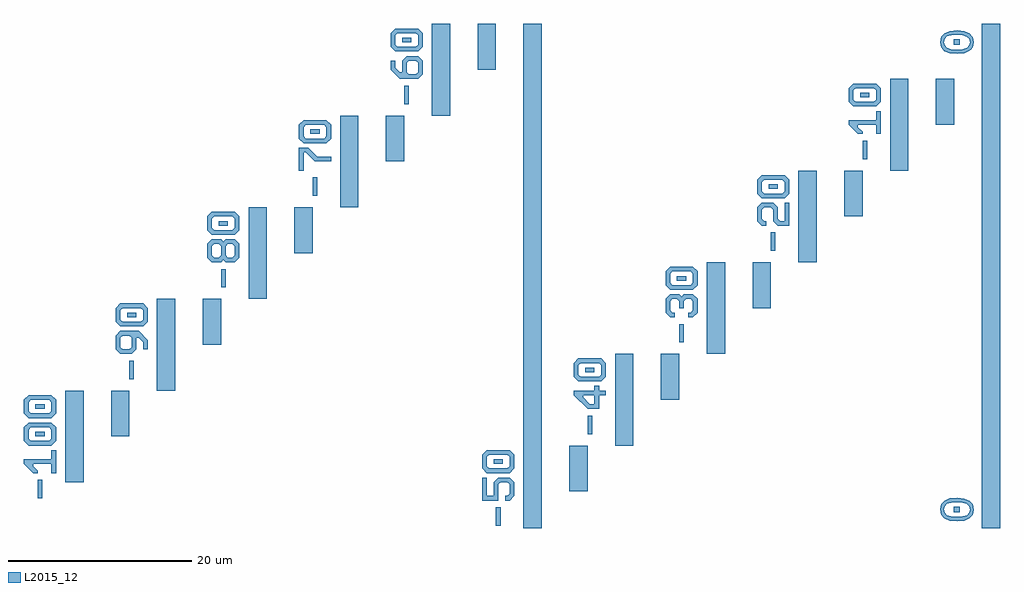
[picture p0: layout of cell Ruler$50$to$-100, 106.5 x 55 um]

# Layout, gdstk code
import gdstk
lib = gdstk.Library(unit=1e-6, precision=1e-09)
def R(c, l, rs):  # rectangles x0, y0, x1, y1
    for r in rs: c.add(gdstk.rectangle(r[:2], r[2:], *l))
def P(c, l, *ps):  # polygons
    for p in ps: c.add(gdstk.Polygon(p, *l))
L2015_12 = (2015, 12)

ruler_50_to__100 = lib.new_cell('Ruler$50$to$-100')
R(ruler_50_to__100, L2015_12, [(-51,-25,-49,30), (-1,-25,1,30), (-54,-24.75,-53.5,-22.75), (-4.028,-23.288,-3.376,-22.673), (-104,-21.75,-103.5,-19.75), (-46,-21,-44,-16), (-101,-20,-99,-10), (-54.25,-18,-53.25,-17.5), (-41,-16,-39,-6), (-104.25,-15,-103.25,-14.5), (-96,-15,-94,-10), (-44,-14.75,-43.5,-12.75), (-104.25,-12,-103.25,-11.5), (-36,-11,-34,-6), (-91,-10,-89,0), (-94,-8.75,-93.5,-6.75), (-44.25,-8,-43.25,-7.5), (-31,-6,-29,4), (-86,-5,-84,0), (-34,-4.75,-33.5,-2.75), (-94.25,-2,-93.25,-1.5), (-26,-1,-24,4), (-81,0,-79,10), (-84,1.25,-83.5,3.25), (-34.25,2,-33.25,2.5), (-21,4,-19,14), (-76,5,-74,10), (-24,5.25,-23.5,7.25), (-84.25,8,-83.25,8.5), (-16,9,-14,14), (-71,10,-69,20), (-74,11.25,-73.5,13.25), (-24.25,12,-23.25,12.5), (-11,14,-9,24), (-66,15,-64,20), (-14,15.25,-13.5,17.25), (-74.25,18,-73.25,18.5), (-6,19,-4,24), (-61,20,-59,30), (-64,21.25,-63.5,23.25), (-14.25,22,-13.25,22.5), (-56,25,-54,30), (-4.028,27.712,-3.376,28.327), (-64.25,28,-63.25,28.5)])
P(ruler_50_to__100, L2015_12, [(-65,27),(-65.5,27.5),(-65.5,29),(-65,29.5),(-62.5,29.5),(-62,29),(-62,27.5),(-62.75,27.5),(-62.5,27.75),(-62.5,28.75),(-62.75,29),(-64.75,29),(-65,28.75),(-65,27.75),(-64.75,27.5),(-62,27.5),(-62.5,27)],
  [(-3.69,26.737),(-4.489,26.815),(-5.057,27.049),(-5.397,27.45),(-5.51,28.028),(-5.396,28.595),(-5.052,28.99),(-4.484,29.223),(-3.69,29.301),(-2.909,29.22),(-2.336,28.974),(-1.987,28.571),(-1.87,28.013),(-1.986,27.455),(-2.196,27.214),(-3.69,27.214),(-3.044,27.262),(-2.598,27.405),(-2.341,27.656),(-2.255,28.018),(-2.343,28.379),(-2.608,28.628),(-3.056,28.774),(-3.69,28.822),(-4.344,28.775),(-4.787,28.636),(-5.043,28.393),(-5.128,28.028),(-5.044,27.654),(-4.793,27.402),(-4.35,27.261),(-3.69,27.214),(-2.196,27.214),(-2.333,27.057),(-2.906,26.817)],
  [(-64.5,24),(-65.5,25),(-65.5,26),(-65,26),(-65,25.25),(-64.5,24.75),(-64.25,24.75),(-64.25,26),(-63.75,26.5),(-62.5,26.5),(-62,26),(-62,24.5),(-62.75,24.5),(-62.5,24.75),(-62.5,25.75),(-62.75,26),(-63.5,26),(-63.75,25.75),(-63.75,24.75),(-63.5,24.5),(-62,24.5),(-62.5,24)],
  [(-15,21),(-15.5,21.5),(-15.5,23),(-15,23.5),(-12.5,23.5),(-12,23),(-12,21.5),(-12.75,21.5),(-12.5,21.75),(-12.5,22.75),(-12.75,23),(-14.75,23),(-15,22.75),(-15,21.75),(-14.75,21.5),(-12,21.5),(-12.5,21)],
  [(-14.5,18),(-15.5,19),(-15.5,19.5),(-12.5,19.5),(-12.5,20.5),(-12,20.5),(-12,18),(-12.5,18),(-12.5,19),(-14.5,19),(-14.5,18.75),(-14,18.25),(-14,18)],
  [(-75,17),(-75.5,17.5),(-75.5,19),(-75,19.5),(-72.5,19.5),(-72,19),(-72,17.5),(-72.75,17.5),(-72.5,17.75),(-72.5,18.75),(-72.75,19),(-74.75,19),(-75,18.75),(-75,17.75),(-74.75,17.5),(-72,17.5),(-72.5,17)],
  [(-75.5,14),(-75.5,16.5),(-74.5,16.5),(-73.5,15.5),(-72,15.5),(-72,15),(-73.75,15),(-74.75,16),(-75,16),(-75,14)],
  [(-25,11),(-25.5,11.5),(-25.5,13),(-25,13.5),(-22.5,13.5),(-22,13),(-22,11.5),(-22.75,11.5),(-22.5,11.75),(-22.5,12.75),(-22.75,13),(-24.75,13),(-25,12.75),(-25,11.75),(-24.75,11.5),(-22,11.5),(-22.5,11)],
  [(-25,8),(-25.5,8.5),(-25.5,10),(-25,10.5),(-23.75,10.5),(-23.25,10),(-23.25,8.75),(-23,8.5),(-22.5,8.5),(-22.5,10.5),(-22,10.5),(-22,8),(-23.25,8),(-23.75,8.5),(-23.75,9.75),(-24,10),(-24.75,10),(-25,9.75),(-25,8.75),(-24.75,8.5),(-24.5,8.5),(-24.5,8)],
  [(-85,7),(-85.5,7.5),(-85.5,9),(-85,9.5),(-82.5,9.5),(-82,9),(-82,7.5),(-82.75,7.5),(-82.5,7.75),(-82.5,8.75),(-82.75,9),(-84.75,9),(-85,8.75),(-85,7.75),(-84.75,7.5),(-82,7.5),(-82.5,7)],
  [(-85,4),(-85.5,4.5),(-85.5,6),(-85,6.5),(-84,6.5),(-83.75,6.25),(-83.5,6.5),(-82.5,6.5),(-82,6),(-82,4.5),(-82.75,4.5),(-82.5,4.75),(-82.5,5.75),(-82.75,6),(-83.25,6),(-83.5,5.75),(-83.5,4.75),(-83.25,4.5),(-84.25,4.5),(-84,4.75),(-84,5.75),(-84.25,6),(-84.75,6),(-85,5.75),(-85,4.75),(-84.75,4.5),(-82,4.5),(-82.5,4),(-83.5,4),(-83.75,4.25),(-84,4)],
  [(-35,1),(-35.5,1.5),(-35.5,3),(-35,3.5),(-32.5,3.5),(-32,3),(-32,1.5),(-32.75,1.5),(-32.5,1.75),(-32.5,2.75),(-32.75,3),(-34.75,3),(-35,2.75),(-35,1.75),(-34.75,1.5),(-32,1.5),(-32.5,1)],
  [(-35,-2),(-35.5,-1.5),(-35.5,0),(-35,0.5),(-34,0.5),(-33.75,0.25),(-33.5,0.5),(-32.5,0.5),(-32,0),(-32,-1.5),(-32.5,-2),(-33,-2),(-33,-1.5),(-32.75,-1.5),(-32.5,-1.25),(-32.5,-0.25),(-32.75,0),(-33.25,0),(-33.5,-0.25),(-33.5,-1),(-34,-1),(-34,-0.25),(-34.25,0),(-34.75,0),(-35,-0.25),(-35,-1.25),(-34.75,-1.5),(-34.5,-1.5),(-34.5,-2)],
  [(-95,-3),(-95.5,-2.5),(-95.5,-1),(-95,-0.5),(-92.5,-0.5),(-92,-1),(-92,-2.5),(-92.75,-2.5),(-92.5,-2.25),(-92.5,-1.25),(-92.75,-1),(-94.75,-1),(-95,-1.25),(-95,-2.25),(-94.75,-2.5),(-92,-2.5),(-92.5,-3)],
  [(-95,-6),(-95.5,-5.5),(-95.5,-4),(-95,-3.5),(-93,-3.5),(-92,-4.5),(-92,-5.5),(-92.5,-5.5),(-92.5,-4.75),(-93,-4.25),(-93.25,-4.25),(-93.25,-5.5),(-94,-5.5),(-93.75,-5.25),(-93.75,-4.25),(-94,-4),(-94.75,-4),(-95,-4.25),(-95,-5.25),(-94.75,-5.5),(-93.25,-5.5),(-93.75,-6)],
  [(-45,-9),(-45.5,-8.5),(-45.5,-7),(-45,-6.5),(-42.5,-6.5),(-42,-7),(-42,-8.5),(-42.75,-8.5),(-42.5,-8.25),(-42.5,-7.25),(-42.75,-7),(-44.75,-7),(-45,-7.25),(-45,-8.25),(-44.75,-8.5),(-42,-8.5),(-42.5,-9)],
  [(-44,-12),(-45.5,-10.5),(-45.5,-10),(-43.25,-10),(-43.25,-9.5),(-42.75,-9.5),(-42.75,-10),(-42,-10),(-42,-10.5),(-42.75,-10.5),(-42.75,-11.5),(-43.25,-11.5),(-43.25,-10.5),(-44.5,-10.5),(-44.5,-10.75),(-43.75,-11.5),(-42.75,-11.5),(-42.75,-12)],
  [(-105,-13),(-105.5,-12.5),(-105.5,-11),(-105,-10.5),(-102.5,-10.5),(-102,-11),(-102,-12.5),(-102.75,-12.5),(-102.5,-12.25),(-102.5,-11.25),(-102.75,-11),(-104.75,-11),(-105,-11.25),(-105,-12.25),(-104.75,-12.5),(-102,-12.5),(-102.5,-13)],
  [(-105,-16),(-105.5,-15.5),(-105.5,-14),(-105,-13.5),(-102.5,-13.5),(-102,-14),(-102,-15.5),(-102.75,-15.5),(-102.5,-15.25),(-102.5,-14.25),(-102.75,-14),(-104.75,-14),(-105,-14.25),(-105,-15.25),(-104.75,-15.5),(-102,-15.5),(-102.5,-16)],
  [(-55,-19),(-55.5,-18.5),(-55.5,-17),(-55,-16.5),(-52.5,-16.5),(-52,-17),(-52,-18.5),(-52.75,-18.5),(-52.5,-18.25),(-52.5,-17.25),(-52.75,-17),(-54.75,-17),(-55,-17.25),(-55,-18.25),(-54.75,-18.5),(-52,-18.5),(-52.5,-19)],
  [(-104.5,-19),(-105.5,-18),(-105.5,-17.5),(-102.5,-17.5),(-102.5,-16.5),(-102,-16.5),(-102,-19),(-102.5,-19),(-102.5,-18),(-104.5,-18),(-104.5,-18.25),(-104,-18.75),(-104,-19)],
  [(-55.5,-22),(-55.5,-19.5),(-55,-19.5),(-55,-21.5),(-54.25,-21.5),(-54.25,-20),(-53.75,-19.5),(-52.5,-19.5),(-52,-20),(-52,-21.5),(-52.5,-22),(-53,-22),(-53,-21.5),(-52.75,-21.5),(-52.5,-21.25),(-52.5,-20.25),(-52.75,-20),(-53.5,-20),(-53.75,-20.25),(-53.75,-22)],
  [(-3.69,-24.263),(-4.489,-24.185),(-5.057,-23.951),(-5.397,-23.55),(-5.51,-22.972),(-5.396,-22.405),(-5.052,-22.01),(-4.484,-21.777),(-3.69,-21.699),(-2.909,-21.78),(-2.336,-22.026),(-1.987,-22.429),(-1.87,-22.987),(-1.986,-23.545),(-2.196,-23.786),(-3.69,-23.786),(-3.044,-23.738),(-2.598,-23.595),(-2.341,-23.344),(-2.255,-22.982),(-2.343,-22.621),(-2.608,-22.372),(-3.056,-22.226),(-3.69,-22.178),(-4.344,-22.225),(-4.787,-22.364),(-5.043,-22.607),(-5.128,-22.972),(-5.044,-23.346),(-4.793,-23.598),(-4.35,-23.739),(-3.69,-23.786),(-2.196,-23.786),(-2.333,-23.943),(-2.906,-24.183)])

lib.write_gds('Ruler_50_to_-100.gds')
